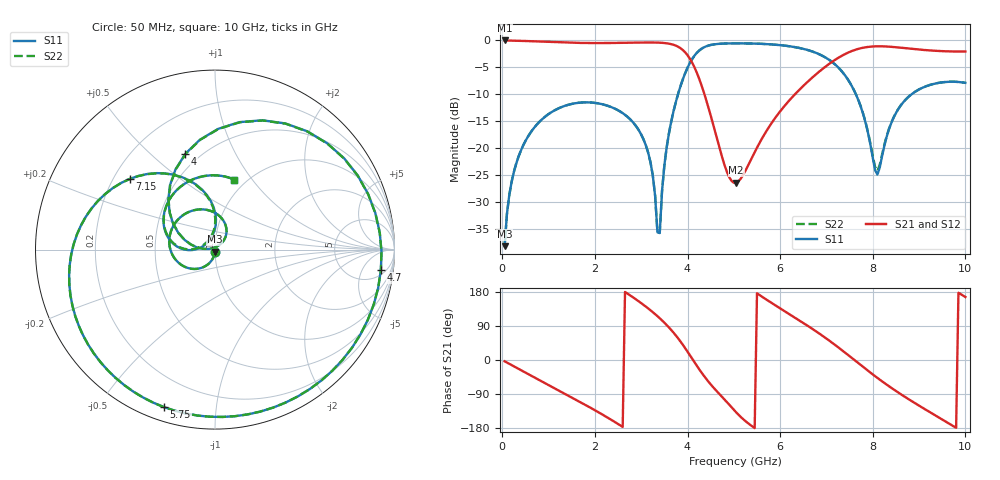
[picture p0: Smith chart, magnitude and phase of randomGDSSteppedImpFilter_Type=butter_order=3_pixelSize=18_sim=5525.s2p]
! freq	dB(S11)	phase(S11)	dB(S12)	phase(S12)
!  dB(S21)	phase(S21)	dB(S22)	phase(S22)
!S-par simulation data
#  GHz  S  DB  R 50
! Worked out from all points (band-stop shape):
!   200 points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, 50 MHz to 10 GHz, reference 50 ohm
!   highest |S21| = -0.01 dB at 50 MHz (marker M1); lowest = -26.4 dB at 5.05 GHz (marker M2)
!   |S21| within 3 dB of the highest: start of sweep to 4.021 GHz; 7.298 GHz to end of sweep
!   lowest |S11| = -38.1 dB at 50 MHz (marker M3), VSWR 1.03, Z = 49.9 - j1.24 ohm
!   |S11| at or under -10 dB: start of sweep to 3.793 GHz; 7.636 GHz to 8.835 GHz (1.2 GHz wide, 14.6 % of centre)
!   |S22| runs from -38.1 to -0.5 dB; largest |S21 - S12| = 0
!   S11 on the Smith chart (normalised r, x): 50 MHz: 1.00, -0.02; 4 GHz: 0.42, +0.65; 4.7 GHz: 7, -12; 5.75 GHz: 0.06, -0.73; 7.15 GHz: 0.27, +0.34; 10 GHz: 0.88, +0.82
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0.05  -38.11 -92.3  -0.01 -3.4  -0.01 -3.4  -38.11 -92.3
0.2  -26.25 -103.1  -0.03 -13.4  -0.03 -13.4  -26.25 -103.1
0.5  -18.63 -123.5  -0.11 -33.2  -0.11 -33.2  -18.63 -123.5
1.15  -12.85 -166.3  -0.33 -75.8  -0.33 -75.8  -12.85 -166.3
1.75  -11.48 154.0  -0.47 -115.5  -0.47 -115.5  -11.48 154.1
2.4  -12.52 108.7  -0.47 -161.3  -0.47 -161.3  -12.52 108.7
2.95  -16.67 66.0  -0.40 154.5  -0.40 154.5  -16.67 66.0
3.2  -22.58 46.8  -0.38 131.2  -0.38 131.2  -22.57 46.9
3.4  -35.68 153.9  -0.42 110.2  -0.42 110.2  -35.59 153.1
3.6  -17.15 168.0  -0.60 85.8  -0.60 85.8  -17.15 167.7
4  -5.06 107.2  -2.74 22.0  -2.74 22.0  -5.06 106.9
4.3  -1.56 52.0  -8.27 -32.8  -8.27 -32.8  -1.56 51.8
4.7  -0.62 -6.9  -20.21 -91.3  -20.21 -91.3  -0.62 -7.2
5.05  -0.54 -45.9  -26.38 -138.1  -26.38 -138.1  -0.54 -46.1
5.75  -0.70 -107.9  -16.15 155.7  -16.15 155.7  -0.70 -108.1
6.7  -2.07 177.9  -6.83 81.8  -6.83 81.8  -2.06 177.9
7.15  -4.19 140.4  -3.80 43.1  -3.80 43.1  -4.18 140.5
7.65  -10.27 98.4  -1.66 -4.6  -1.66 -4.6  -10.24 99.1
8.1  -24.86 139.5  -1.08 -47.3  -1.08 -47.3  -24.18 139.0
8.35  -16.45 -178.9  -1.15 -69.3  -1.15 -69.3  -16.36 179.4
9.25  -8.21 126.2  -1.86 -138.9  -1.86 -138.9  -8.20 125.8
10  -7.86 74.7  -2.05 166.2  -2.05 166.2  -7.86 74.7
